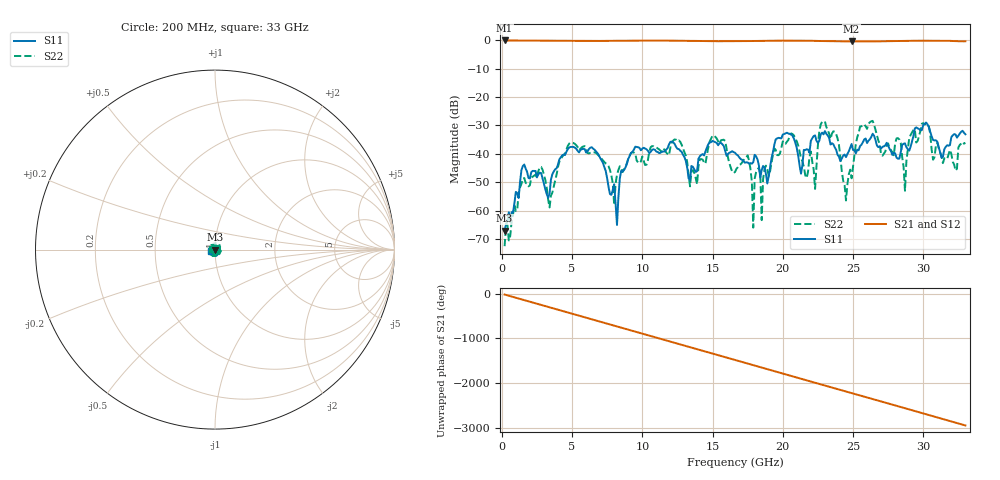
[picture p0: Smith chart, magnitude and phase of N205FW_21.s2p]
# GHZ S RI R 50
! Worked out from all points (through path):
!   329 points, 200 MHz to 33 GHz, reference 50 ohm
!   highest |S21| = -0.01 dB at 200 MHz (marker M1); lowest = -0.4 dB at 24.9 GHz (marker M2)
!   group delay of S21, straight-line fit = 248 ps
!   lowest |S11| = -67.1 dB at 200 MHz (marker M3), VSWR 1.00, Z = 50 - j0.0415 ohm
!   |S11| at or under -10 dB: start of sweep to end of sweep
!   |S22| runs from -72.6 to -28.4 dB; largest |S21 - S12| = 0.0022
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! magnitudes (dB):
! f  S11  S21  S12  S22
! 200 MHz  -67.1  0.0  0.0  -72.6
! 1.5 GHz  -44.3  0.0  0.0  -48.8
! 3.4 GHz  -54.0  -0.1  -0.1  -58.9
! 5.7 GHz  -38.4  -0.2  -0.2  -37.7
! 8.2 GHz  -65.1  -0.1  -0.1  -47.4
! 9.2 GHz  -39.7  -0.1  -0.1  -39.7
! 11.2 GHz  -39.7  -0.1  -0.1  -38.4
! 16.6 GHz  -39.6  -0.3  -0.3  -46.4
! 17.5 GHz  -43.0  -0.2  -0.2  -40.5
! 17.9 GHz  -43.0  -0.2  -0.2  -66.0
! 18.1 GHz  -40.8  -0.2  -0.2  -46.5
! 18.5 GHz  -45.7  -0.2  -0.2  -63.4
! 19.4 GHz  -36.8  -0.1  -0.1  -38.1
! 22.1 GHz  -34.5  -0.1  -0.1  -42.8
! 23 GHz  -32.0  -0.2  -0.2  -28.6
! 24.9 GHz  -36.5  -0.4  -0.4  -48.6
! 25.5 GHz  -37.3  -0.3  -0.3  -30.4
! 27.6 GHz  -38.2  -0.3  -0.3  -38.0
! 28.4 GHz  -39.4  -0.2  -0.2  -36.1
! 28.7 GHz  -36.3  -0.2  -0.2  -53.0
! 29.3 GHz  -33.7  -0.1  -0.1  -31.6
! 33 GHz  -33.1  -0.3  -0.3  -36.1
